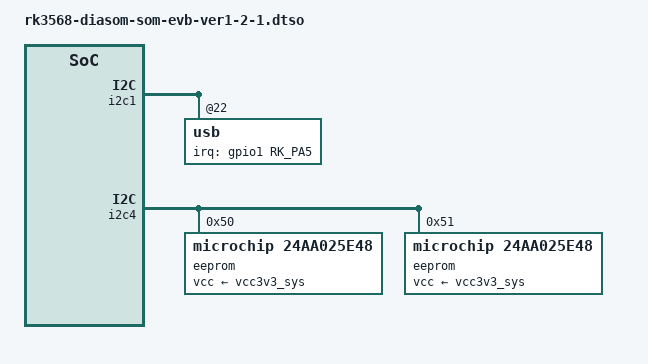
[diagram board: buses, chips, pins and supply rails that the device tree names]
/* SPDX-License-Identifier: GPL-2.0+ */
/* SPDX-FileCopyrightText: Alexander Shiyan <shc_work@mail.ru> */

/dts-v1/;
/plugin/;
#include <dt-bindings/interrupt-controller/irq.h>
#include <dt-bindings/gpio/gpio.h>
#include <dt-bindings/pinctrl/rockchip.h>

&vcc3v3_pcie20 {
    gpio = <&gpio0 RK_PC2 GPIO_ACTIVE_HIGH>;
};

&vcc5v0_usb3_host1 {
    gpio = <&gpio0 RK_PC3 GPIO_ACTIVE_HIGH>;
};

&vcc5v0_usb3_otg0 {
    enable-active-high;
    gpio = <&gpio0 RK_PC1 GPIO_ACTIVE_HIGH>;
};

&i2c1 {
    usb@22 {
	    interrupt-parent = <&gpio1>;
	    interrupts = <RK_PA5 IRQ_TYPE_LEVEL_LOW>;
    };
};

&i2c4 {
    eeprom@50 {
		compatible = "microchip,24aa025e48", "atmel,24c02";
		reg = <0x50>;
		pagesize = <16>;
		vcc-supply = <&vcc3v3_sys>;
		#address-cells = <1>;
		#size-cells = <1>;

		mac0: mac-address@fa {
			reg = <0xfa 0x06>;
			read-only;
		};
	};

	eeprom@51 {
		compatible = "microchip,24aa025e48", "atmel,24c02";
		reg = <0x51>;
		pagesize = <16>;
		vcc-supply = <&vcc3v3_sys>;
		#address-cells = <1>;
		#size-cells = <1>;

		mac1: mac-address@fa {
			reg = <0xfa 0x06>;
			read-only;
		};
	};
};

&csi1_v1_pwr {
    rockchip,pins =
        <3 RK_PD3 RK_FUNC_GPIO &pcfg_pull_up>;		/* CSI_PWREN1 */
};

&fusb302_pins {
    rockchip,pins =
		<1 RK_PA5 RK_FUNC_GPIO &pcfg_input_high>;		/* USB3_OTG_INT */
};

&gmac0 {
	nvmem-cells = <&mac0>;
	nvmem-cell-names = "mac-address";
};

&gmac1 {
	nvmem-cells = <&mac1>;
	nvmem-cell-names = "mac-address";
};

&pcie20_pwr_pins {
    rockchip,pins =
		<0 RK_PC2 RK_FUNC_GPIO &pcfg_pull_none>;	/* PCIE20_PWREN */
};

&usb3_host1_en_pins {
    rockchip,pins =
        <0 RK_PC3 RK_FUNC_GPIO &pcfg_pull_none>;	/* USB3_HOST1_EN */
};

&usb3_otg0_en_pins {
    rockchip,pins =
        <0 RK_PC1 RK_FUNC_GPIO &pcfg_pull_none>;	/* USB3_OTG0_EN */
};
